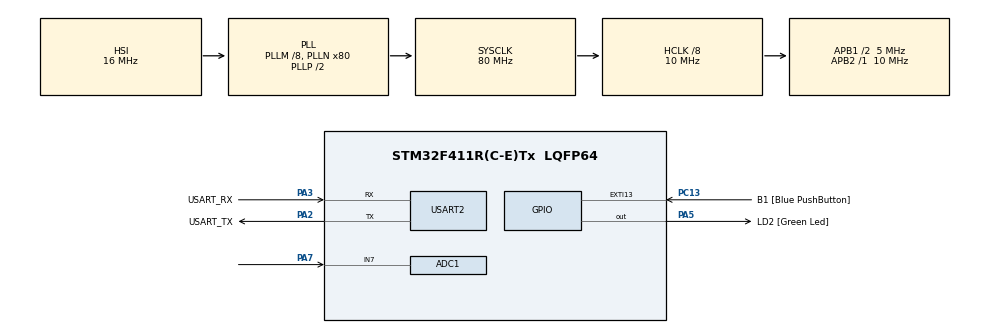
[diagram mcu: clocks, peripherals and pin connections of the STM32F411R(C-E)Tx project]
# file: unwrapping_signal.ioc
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ADC1.Channel-0\#ChannelRegularConversion=ADC_CHANNEL_7
ADC1.ContinuousConvMode=DISABLE
ADC1.DMAContinuousRequests=DISABLE
ADC1.ExternalTrigConv=ADC_EXTERNALTRIGCONV_T3_TRGO
ADC1.NbrOfConversionFlag=1
ADC1.Rank-0\#ChannelRegularConversion=1
ADC1.SamplingTime-0\#ChannelRegularConversion=ADC_SAMPLETIME_3CYCLES
ADC1.ScanConvMode=DISABLE
ADC1.master=1
Mcu.Family=STM32F4
Mcu.Name=STM32F411R(C-E)Tx
Mcu.Package=LQFP64
NVIC.ADC_IRQn=true\:0\:0\:false\:false\:true\:true\:true
NVIC.PriorityGroup=NVIC_PRIORITYGROUP_0
PA13.GPIO_Label=TMS
PA13.Mode=Serial_Wire
PA13.Signal=SYS_JTMS-SWDIO
PA14.GPIO_Label=TCK
PA14.Mode=Serial_Wire
PA14.Signal=SYS_JTCK-SWCLK
PA2.GPIO_Label=USART_TX
PA2.Mode=Asynchronous
PA2.Signal=USART2_TX
PA3.GPIO_Label=USART_RX
PA3.Mode=Asynchronous
PA3.Signal=USART2_RX
PA5.GPIO_Label=LD2 [Green Led]
PA5.Signal=GPIO_Output
PA7.Signal=ADCx_IN7
PB3.GPIO_Label=SWO
PB3.Signal=SYS_JTDO-SWO
PC13-ANTI_TAMP.GPIO_Label=B1 [Blue PushButton]
PC13-ANTI_TAMP.GPIO_ModeDefaultEXTI=GPIO_MODE_IT_FALLING
PC13-ANTI_TAMP.Signal=GPXTI13
PC14-OSC32_IN.Mode=LSE-External-Oscillator
PC14-OSC32_IN.Signal=RCC_OSC32_IN
PC15-OSC32_OUT.Mode=LSE-External-Oscillator
PC15-OSC32_OUT.Signal=RCC_OSC32_OUT
PH0\ -\ OSC_IN.Mode=HSE-External-Clock-Source
PH0\ -\ OSC_IN.Signal=RCC_OSC_IN
PH1\ -\ OSC_OUT.Mode=HSE-External-Clock-Source
PH1\ -\ OSC_OUT.Signal=RCC_OSC_OUT
ProjectManager.HeapSize=0x200
ProjectManager.StackSize=0x400
ProjectManager.TargetToolchain=STM32CubeIDE
RCC.48MHZClocksFreq_Value=40000000
RCC.AHBCLKDivider=RCC_SYSCLK_DIV8
RCC.AHBFreq_Value=10000000
RCC.APB1CLKDivider=RCC_HCLK_DIV2
RCC.APB1Freq_Value=5000000
RCC.APB1TimFreq_Value=10000000
RCC.APB2Freq_Value=10000000
RCC.APB2TimFreq_Value=10000000
RCC.CortexFreq_Value=10000000
RCC.FLatency-AdvancedSettings=FLASH_LATENCY_0
RCC.HCLKFreq_Value=10000000
RCC.HSE_VALUE=8000000
RCC.HSI_VALUE=16000000
RCC.PLLM=8
RCC.PLLN=80
RCC.SYSCLKFreq_VALUE=80000000
RCC.SYSCLKSource=RCC_SYSCLKSOURCE_PLLCLK
RCC.VCOOutputFreq_Value=160000000
SH.ADCx_IN7.0=ADC1_IN7,IN7
TIM3.Period=999
TIM3.Prescaler=49
TIM3.TIM_MasterOutputTrigger=TIM_TRGO_UPDATE
USART2.VirtualMode=VM_ASYNC
VP_TIM3_VS_ClockSourceINT.Mode=Internal
board=NUCLEO-F411RE

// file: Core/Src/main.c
/* USER CODE BEGIN Header */
/**
  ******************************************************************************
  * @file           : main.c
  * @brief          : Main program body
  ******************************************************************************
  * @attention
  *
  * Copyright (c) 2022 STMicroelectronics.
  * All rights reserved.
  *
  * This software is licensed under terms that can be found in the LICENSE file
  * in the root directory of this software component.
  * If no LICENSE file comes with this software, it is provided AS-IS.
  *
  ******************************************************************************
  */
/* USER CODE END Header */
#include "main.h"

ADC_HandleTypeDef hadc1;

TIM_HandleTypeDef htim3;

UART_HandleTypeDef huart2;

/* USER CODE BEGIN PV */
uint8_t ADCUpdateFlag = 0;
//Store ADC Value
uint16_t ADCFeedBack = 0;

float angle = 0;
float angle_before = 0;
float angle_sum = 0;
float angle_base_before = 0;
float angle_base = 0;
/* USER CODE END PV */

void SystemClock_Config(void);
static void MX_GPIO_Init(void);
static void MX_USART2_UART_Init(void);
static void MX_ADC1_Init(void);
static void MX_TIM3_Init(void);

int main(void)
{

  /* MCU Configuration--------------------------------------------------------*/

  /* Reset of all peripherals, Initializes the Flash interface and the Systick. */
  HAL_Init();

  /* Configure the system clock */
  SystemClock_Config();

  /* Initialize all configured peripherals */
  MX_GPIO_Init();
  MX_USART2_UART_Init();
  MX_ADC1_Init();
  MX_TIM3_Init();
  /* USER CODE BEGIN 2 */
  HAL_ADC_Start_IT(&hadc1);
  HAL_TIM_Base_Start(&htim3);
  int threshold = -180;
  uint16_t angle_max =360;
  /* USER CODE END 2 */

  /* Infinite loop */
  /* USER CODE BEGIN WHILE */
  while (1)
  {
	  if (ADCUpdateFlag) {
		  angle_before = angle;
		  angle = ADCFeedBack * 0.083;
		  angle_base_before = angle_base;
		  if ((angle - angle_before) <= threshold){
			  angle_base = angle_base_before + angle_max;
		  }
		  else{
			  angle_base = angle_base_before;
		  }
		  angle_sum = angle + angle_base;

		  ADCUpdateFlag = 0;
	  }
    /* USER CODE END WHILE */

	}
}

void SystemClock_Config(void)
{
  RCC_OscInitTypeDef RCC_OscInitStruct = {0};
  RCC_ClkInitTypeDef RCC_ClkInitStruct = {0};

  /** Configure the main internal regulator output voltage
  */
  __HAL_RCC_PWR_CLK_ENABLE();
  __HAL_PWR_VOLTAGESCALING_CONFIG(PWR_REGULATOR_VOLTAGE_SCALE1);
  /** Initializes the RCC Oscillators according to the specified parameters
  * in the RCC_OscInitTypeDef structure.
  */
  RCC_OscInitStruct.OscillatorType = RCC_OSCILLATORTYPE_HSI;
  RCC_OscInitStruct.HSIState = RCC_HSI_ON;
  RCC_OscInitStruct.HSICalibrationValue = RCC_HSICALIBRATION_DEFAULT;
  RCC_OscInitStruct.PLL.PLLState = RCC_PLL_ON;
  RCC_OscInitStruct.PLL.PLLSource = RCC_PLLSOURCE_HSI;
  RCC_OscInitStruct.PLL.PLLM = 8;
  RCC_OscInitStruct.PLL.PLLN = 80;
  RCC_OscInitStruct.PLL.PLLP = RCC_PLLP_DIV2;
  RCC_OscInitStruct.PLL.PLLQ = 4;
  if (HAL_RCC_OscConfig(&RCC_OscInitStruct) != HAL_OK)
  {
    Error_Handler();
  }
  /** Initializes the CPU, AHB and APB buses clocks
  */
  RCC_ClkInitStruct.ClockType = RCC_CLOCKTYPE_HCLK|RCC_CLOCKTYPE_SYSCLK
                              |RCC_CLOCKTYPE_PCLK1|RCC_CLOCKTYPE_PCLK2;
  RCC_ClkInitStruct.SYSCLKSource = RCC_SYSCLKSOURCE_PLLCLK;
  RCC_ClkInitStruct.AHBCLKDivider = RCC_SYSCLK_DIV8;
  RCC_ClkInitStruct.APB1CLKDivider = RCC_HCLK_DIV2;
  RCC_ClkInitStruct.APB2CLKDivider = RCC_HCLK_DIV1;

  if (HAL_RCC_ClockConfig(&RCC_ClkInitStruct, FLASH_LATENCY_0) != HAL_OK)
  {
    Error_Handler();
  }
}

static void MX_ADC1_Init(void)
{

  ADC_ChannelConfTypeDef sConfig = {0};

  /** Configure the global features of the ADC (Clock, Resolution, Data Alignment and number of conversion)
  */
  hadc1.Instance = ADC1;
  hadc1.Init.ClockPrescaler = ADC_CLOCK_SYNC_PCLK_DIV2;
  hadc1.Init.Resolution = ADC_RESOLUTION_12B;
  hadc1.Init.ScanConvMode = DISABLE;
  hadc1.Init.ContinuousConvMode = DISABLE;
  hadc1.Init.DiscontinuousConvMode = DISABLE;
  hadc1.Init.ExternalTrigConvEdge = ADC_EXTERNALTRIGCONVEDGE_RISING;
  hadc1.Init.ExternalTrigConv = ADC_EXTERNALTRIGCONV_T3_TRGO;
  hadc1.Init.DataAlign = ADC_DATAALIGN_RIGHT;
  hadc1.Init.NbrOfConversion = 1;
  hadc1.Init.DMAContinuousRequests = DISABLE;
  hadc1.Init.EOCSelection = ADC_EOC_SINGLE_CONV;
  if (HAL_ADC_Init(&hadc1) != HAL_OK)
  {
    Error_Handler();
  }
  /** Configure for the selected ADC regular channel its corresponding rank in the sequencer and its sample time.
  */
  sConfig.Channel = ADC_CHANNEL_7;
  sConfig.Rank = 1;
  sConfig.SamplingTime = ADC_SAMPLETIME_3CYCLES;
  if (HAL_ADC_ConfigChannel(&hadc1, &sConfig) != HAL_OK)
  {
    Error_Handler();
  }

}

static void MX_TIM3_Init(void)
{

  TIM_ClockConfigTypeDef sClockSourceConfig = {0};
  TIM_MasterConfigTypeDef sMasterConfig = {0};

  htim3.Instance = TIM3;
  htim3.Init.Prescaler = 49;
  htim3.Init.CounterMode = TIM_COUNTERMODE_UP;
  htim3.Init.Period = 999;
  htim3.Init.ClockDivision = TIM_CLOCKDIVISION_DIV1;
  htim3.Init.AutoReloadPreload = TIM_AUTORELOAD_PRELOAD_DISABLE;
  if (HAL_TIM_Base_Init(&htim3) != HAL_OK)
  {
    Error_Handler();
  }
  sClockSourceConfig.ClockSource = TIM_CLOCKSOURCE_INTERNAL;
  if (HAL_TIM_ConfigClockSource(&htim3, &sClockSourceConfig) != HAL_OK)
  {
    Error_Handler();
  }
  sMasterConfig.MasterOutputTrigger = TIM_TRGO_UPDATE;
  sMasterConfig.MasterSlaveMode = TIM_MASTERSLAVEMODE_DISABLE;
  if (HAL_TIMEx_MasterConfigSynchronization(&htim3, &sMasterConfig) != HAL_OK)
  {
    Error_Handler();
  }

}

static void MX_USART2_UART_Init(void)
{

  huart2.Instance = USART2;
  huart2.Init.BaudRate = 115200;
  huart2.Init.WordLength = UART_WORDLENGTH_8B;
  huart2.Init.StopBits = UART_STOPBITS_1;
  huart2.Init.Parity = UART_PARITY_NONE;
  huart2.Init.Mode = UART_MODE_TX_RX;
  huart2.Init.HwFlowCtl = UART_HWCONTROL_NONE;
  huart2.Init.OverSampling = UART_OVERSAMPLING_16;
  if (HAL_UART_Init(&huart2) != HAL_OK)
  {
    Error_Handler();
  }

}

static void MX_GPIO_Init(void)
{
  GPIO_InitTypeDef GPIO_InitStruct = {0};

  /* GPIO Ports Clock Enable */
  __HAL_RCC_GPIOC_CLK_ENABLE();
  __HAL_RCC_GPIOH_CLK_ENABLE();
  __HAL_RCC_GPIOA_CLK_ENABLE();
  __HAL_RCC_GPIOB_CLK_ENABLE();

  /*Configure GPIO pin Output Level */
  HAL_GPIO_WritePin(LD2_GPIO_Port, LD2_Pin, GPIO_PIN_RESET);

  /*Configure GPIO pin : B1_Pin */
  GPIO_InitStruct.Pin = B1_Pin;
  GPIO_InitStruct.Mode = GPIO_MODE_IT_FALLING;
  GPIO_InitStruct.Pull = GPIO_NOPULL;
  HAL_GPIO_Init(B1_GPIO_Port, &GPIO_InitStruct);

  /*Configure GPIO pin : LD2_Pin */
  GPIO_InitStruct.Pin = LD2_Pin;
  GPIO_InitStruct.Mode = GPIO_MODE_OUTPUT_PP;
  GPIO_InitStruct.Pull = GPIO_NOPULL;
  GPIO_InitStruct.Speed = GPIO_SPEED_FREQ_LOW;
  HAL_GPIO_Init(LD2_GPIO_Port, &GPIO_InitStruct);

}

/* USER CODE BEGIN 4 */

void HAL_ADC_ConvCpltCallback(ADC_HandleTypeDef *hadc)
{
	ADCFeedBack = HAL_ADC_GetValue(&hadc1);
	ADCUpdateFlag = 1;
}

/* USER CODE END 4 */

void Error_Handler(void)
{
  __disable_irq();
  while (1)
  {
  }
}
